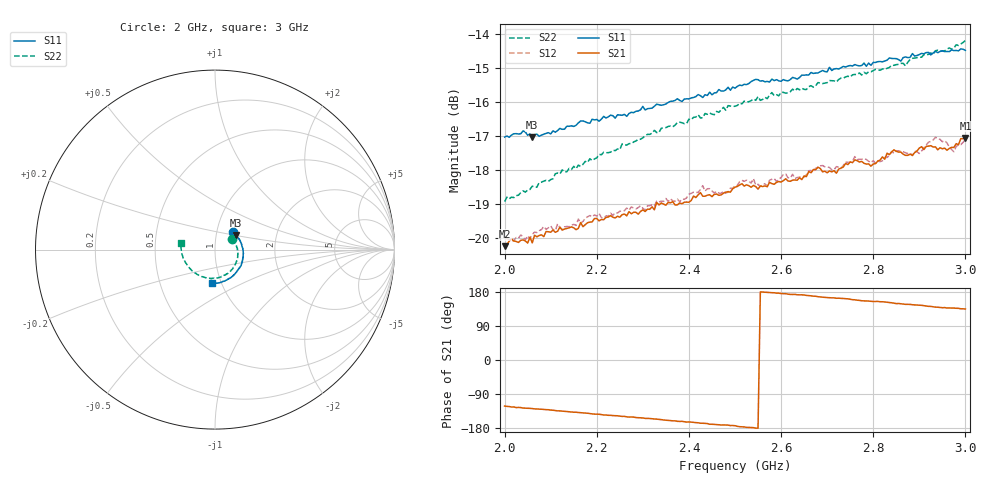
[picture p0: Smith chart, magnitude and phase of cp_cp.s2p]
!Agilent Technologies,E8364A,US41440144,A.06.04.32
!Agilent E8364A: A.06.04.32
!Date: Monday, February 05, 2018 12:06:32
!Correction: S11(Full 2 Port(1,2)) S21(Full 2 Port(1,2)) S12(Full 2 Port(1,2)) S22(Full 2 Port(1,2))
!S2P File: Measurements: S11, S21, S12, S22:
# Hz S  dB  R 50
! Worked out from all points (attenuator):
!   201 points, 2 GHz to 3 GHz, reference 50 ohm
!   highest |S21| = -17.07 dB at 3 GHz (marker M1); lowest = -20.2 dB at 2 GHz (marker M2)
!   lowest |S11| = -17.0 dB at 2.06 GHz (marker M3), VSWR 1.33, Z = 62.3 + j10 ohm
!   |S11| at or under -10 dB: start of sweep to end of sweep
!   |S22| runs from -18.9 to -14.2 dB; largest |S21 - S12| = 0.0052
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2e9  -17.04 43.1  -20.25 -121.6  -20.03 -122.2  -18.94 32.5
2.015e9  -16.98 41.4  -20.04 -124.1  -20.09 -123.4  -18.81 28.5
2.06e9  -17.05 34.2  -20.15 -128.4  -19.90 -127.6  -18.48 16.7
2.065e9  -16.97 33.8  -19.93 -128.9  -19.83 -128.0  -18.51 15.9
2.12e9  -16.78 26.9  -19.69 -134.3  -19.70 -135.2  -18.13 2.5
2.17e9  -16.57 20.7  -19.67 -139.4  -19.52 -139.0  -17.84 -8.5
2.335e9  -16.09 -2.7  -19.03 -156.8  -18.95 -156.4  -16.91 -45.1
2.38e9  -15.96 -8.5  -18.98 -162.0  -18.94 -162.2  -16.60 -54.9
2.43e9  -15.88 -15.1  -18.78 -166.9  -18.47 -167.0  -16.47 -65.5
2.47e9  -15.69 -20.9  -18.74 -171.6  -18.70 -171.7  -16.24 -73.9
2.5e9  -15.60 -25.0  -18.51 -173.3  -18.47 -173.9  -16.14 -80.5
2.58e9  -15.34 -36.6  -18.41 177.6  -18.28 178.4  -15.73 -97.6
2.645e9  -15.22 -45.9  -18.29 172.0  -18.21 171.3  -15.61 -112.0
2.67e9  -15.17 -49.5  -17.99 168.5  -18.08 168.7  -15.57 -117.7
2.72e9  -15.03 -56.9  -18.10 162.9  -17.91 163.0  -15.42 -128.4
2.76e9  -14.91 -61.4  -17.71 158.9  -17.61 158.9  -15.20 -137.5
2.795e9  -14.93 -66.9  -17.90 154.8  -17.79 154.6  -15.12 -144.8
2.835e9  -14.71 -72.7  -17.55 151.6  -17.58 152.1  -14.99 -154.2
2.9e9  -14.62 -81.8  -17.36 144.6  -17.52 145.2  -14.70 -168.2
2.935e9  -14.52 -86.8  -17.33 139.5  -17.05 140.2  -14.50 -176.6
2.975e9  -14.50 -92.4  -17.35 137.0  -17.47 136.2  -14.43 174.8
3e9  -14.49 -95.3  -17.07 134.5  -17.12 135.3  -14.20 169.2
